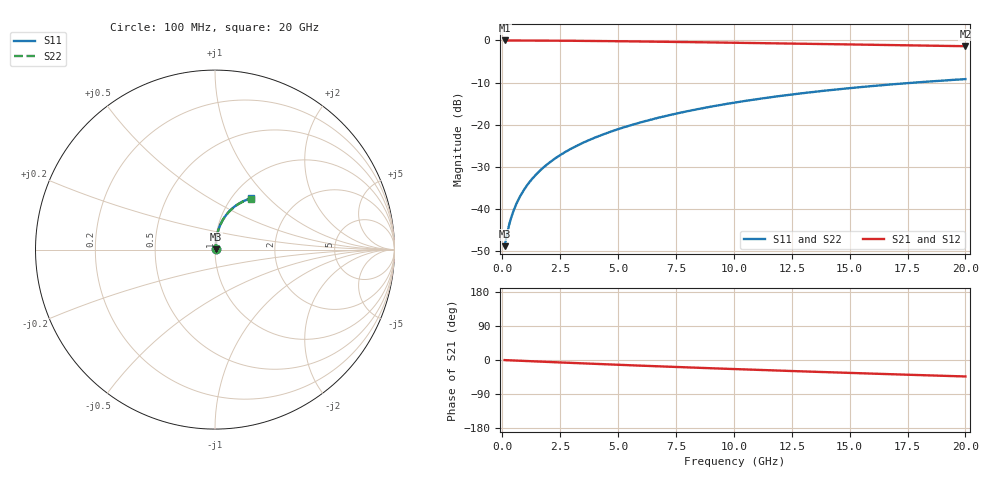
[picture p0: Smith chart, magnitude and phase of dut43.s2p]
! Touchstone file exported from HFSS 2024.1.0
!  File:  C:/UserFiles/LocalFiles/RDL_TSV_Batchsim/temp_RDL_top_43_1778681034.aedt
!  Generated:  10:06:03 PM May 13, 2026
!  Design:  RDL_top
!  Project:  temp_RDL_top_43_1778681034
!  Setup:  Setup1
!  Solution:  Sweep
! Variables:
!  dtsv = 10.80580581um
!  hbump = 3um
!  htsv = 99.99um
!  ldown = 100um
!  lrdl = 667.44um
!  p = 40
!  p1 = 41.39um
!  rhole = 1um
!  t = 450um
!  tdown = 3.915915916um
!  trdl = 4.03um
!  wdown = 15.38538539um
!  wrdl = 20.26um
# GHz S MA R 50.000000
! Terminal data exported
! Port[1] = Box2_T1
! Port[2] = Box2_T2
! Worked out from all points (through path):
!   200 points, 100 MHz to 20 GHz, reference 50 ohm
!   highest |S21| = -0.03 dB at 100 MHz (marker M1); lowest = -1.4 dB at 20 GHz (marker M2)
!   group delay of S21, straight-line fit = 6 ps
!   lowest |S11| = -48.8 dB at 100 MHz (marker M3), VSWR 1.01, Z = 50.3 + j0.198 ohm
!   |S11| at or under -10 dB: start of sweep to 17.83 GHz
!   |S22| runs from -48.8 to -9.2 dB; largest |S21 - S12| = 4.5e-15
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0.1  0.003646 32.7  0.9969 -0.3  0.9969 -0.3  0.003646 32.7
! Gamma 0 0 0 0
! Port Impedance 50 0 50 0
0.2  0.005036 50.0  0.9967 -0.5  0.9967 -0.5  0.005036 50.0
0.3  0.006606 58.8  0.9965 -0.8  0.9965 -0.8  0.006607 58.8
0.4  0.008204 64.0  0.9963 -1.1  0.9963 -1.1  0.008205 64.0
0.5  0.009809 67.6  0.9961 -1.3  0.9961 -1.3  0.00981 67.6
0.6  0.01142 70.3  0.9959 -1.6  0.9959 -1.6  0.01142 70.3
0.8  0.01469 74.1  0.9956 -2.1  0.9956 -2.1  0.01469 74.1
1.1  0.01967 77.4  0.995 -2.9  0.995 -2.9  0.01968 77.4
1.3  0.02304 78.9  0.9946 -3.4  0.9946 -3.4  0.02304 78.8
1.6  0.02815 80.3  0.9938 -4.2  0.9938 -4.2  0.02815 80.3
2.1  0.03676 81.7  0.9922 -5.4  0.9922 -5.4  0.03676 81.6
2.7  0.04723 82.4  0.9897 -7.0  0.9897 -7.0  0.04723 82.3
3.5  0.06142 82.5  0.9858 -9.0  0.9858 -9.0  0.0614 82.4
4.2  0.07402 82.2  0.9817 -10.7  0.9817 -10.7  0.07399 82.2
5  0.08864 81.6  0.9765 -12.6  0.9765 -12.6  0.08858 81.5
6.8  0.1222 79.5  0.9632 -16.8  0.9632 -16.8  0.1221 79.4
8.4  0.1524 77.0  0.9504 -20.4  0.9504 -20.4  0.1522 76.9
10.1  0.1843 74.0  0.9362 -24.1  0.9362 -24.1  0.1841 73.9
11.7  0.2138 71.0  0.9226 -27.5  0.9226 -27.5  0.2135 70.9
13.4  0.2442 67.7  0.908 -30.9  0.908 -30.9  0.2437 67.6
16.7  0.299 61.3  0.8799 -37.4  0.8799 -37.4  0.2984 61.2
20  0.3474 55.1  0.8524 -43.5  0.8524 -43.5  0.3467 55.0
